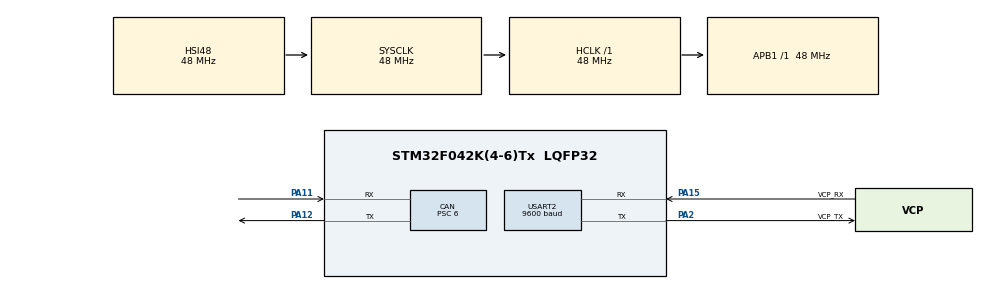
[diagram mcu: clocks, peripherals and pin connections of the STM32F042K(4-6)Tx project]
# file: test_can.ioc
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CAN.BS1=CAN_BS1_13TQ
CAN.BS2=CAN_BS2_2TQ
CAN.CalculateBaudRate=500000
CAN.CalculateTimeBit=2000
CAN.CalculateTimeQuantum=125.0
CAN.Prescaler=6
Mcu.Family=STM32F0
Mcu.Name=STM32F042K(4-6)Tx
Mcu.Package=LQFP32
NVIC.CEC_CAN_IRQn=true\:0\:0\:false\:false\:true\:true\:true\:true
NVIC.USART2_IRQn=true\:0\:0\:false\:false\:true\:true\:true\:true
PA11.Mode=CAN_Activate
PA11.Signal=CAN_RX
PA12.Mode=CAN_Activate
PA12.Signal=CAN_TX
PA13.GPIO_Label=SWDIO
PA13.Mode=Serial_Wire
PA13.Signal=SYS_SWDIO
PA14.GPIO_Label=SWCLK
PA14.Mode=Serial_Wire
PA14.Signal=SYS_SWCLK
PA15.GPIO_Label=VCP_RX
PA15.Mode=Asynchronous
PA15.Signal=USART2_RX
PA2.GPIO_Label=VCP_TX
PA2.Mode=Asynchronous
PA2.Signal=USART2_TX
PF0-OSC_IN.GPIO_Label=MCO
PF0-OSC_IN.Mode=HSE-External-Clock-Source
PF0-OSC_IN.Signal=RCC_OSC_IN
ProjectManager.HeapSize=0x200
ProjectManager.StackSize=0x400
ProjectManager.TargetToolchain=STM32CubeIDE
RCC.AHBFreq_Value=48000000
RCC.APB1Freq_Value=48000000
RCC.APB1TimFreq_Value=48000000
RCC.HCLKFreq_Value=48000000
RCC.SYSCLKFreq_VALUE=48000000
RCC.SYSCLKSource=RCC_SYSCLKSOURCE_HSI48
USART2.BaudRate=9600
USART2.VirtualMode-Asynchronous=VM_ASYNC
board=NUCLEO-F042K6

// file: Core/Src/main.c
/* USER CODE BEGIN Header */
/**
  ******************************************************************************
  * @file           : main.c
  * @brief          : Main program body
  ******************************************************************************
  * @attention
  *
  * Copyright (c) 2026 STMicroelectronics.
  * All rights reserved.
  *
  * This software is licensed under terms that can be found in the LICENSE file
  * in the root directory of this software component.
  * If no LICENSE file comes with this software, it is provided AS-IS.
  *
  ******************************************************************************
  */
/* USER CODE END Header */
#include "main.h"

/* USER CODE BEGIN Includes */
#include <stdio.h>
/* USER CODE END Includes */

CAN_HandleTypeDef hcan;

UART_HandleTypeDef huart2;

/* USER CODE BEGIN PV */
CAN_TxHeaderTypeDef TxHeader;
CAN_RxHeaderTypeDef RxHeader;
uint8_t RxData[8];
/* USER CODE END PV */

void SystemClock_Config(void);
static void MX_GPIO_Init(void);
static void MX_CAN_Init(void);
static void MX_USART2_UART_Init(void);

/* USER CODE BEGIN 0 */
int _write(int file, char *ptr, int len)
{
    HAL_UART_Transmit(&huart2, (uint8_t *)ptr, len, 10);
    return len;
}

void HAL_CAN_RxFifo0MsgPendingCallback(CAN_HandleTypeDef *hcan)
{
    if (HAL_CAN_GetRxMessage(hcan, CAN_RX_FIFO0, &RxHeader, RxData) == HAL_OK)
    {
        /* 수신 데이터 Shape: RxData [8] (1D Array, 상대방이 쏴준 8바이트 날것의 데이터) */

        // OBD-II ECU response
        if (RxHeader.StdId == 0x7E8 && RxData[1] == 0x41)
        {
            if (RxData[2] == 0x0C) { // RPM
                uint16_t raw_rpm = (RxData[3] << 8) | RxData[4]; /* Shape: [1] (스칼라, 16비트 통합) */
                int real_rpm = raw_rpm / 4;                      /* Shape: [1] (스칼라, 실제 RPM 값) */
                printf("RPM=%d\r\n", real_rpm);
            }
            else if (RxData[2] == 0x0D) { // 속도
                int real_speed = RxData[3];                      /* Shape: [1] (스칼라, 실제 속도 km/h) */
                printf("SPEED=%d\r\n", real_speed);
            }
            else if (RxData[2] == 0x11) {
                            /* Shape: RxData[3] [1] (스칼라, 0~255 범위의 8비트 날것의 데이터) */

                            // 공식: A * 100 / 255 (0~100% 백분율로 변환)
            int real_throttle = (RxData[3] * 100) / 255;

                            /* Shape: real_throttle [1] (스칼라, 실제 쓰로틀 개도량 % 값) */

            printf("THROTTLE=%d\r\n", real_throttle);
            }
                            /* Shape: 출력 문자열 [Variable Length] (시리얼 텍스트 스트림) */
            else if (RxData[2] == 0x2F) { // 연료계 잔량
                int real_fuel = (RxData[3] * 100) / 255;         /* Shape: [1] (스칼라, 연료 백분율 %) */
                printf("FUEL=%d\r\n", real_fuel);
            }
            else if (RxData[2] == 0x10) { // 공기 흡입량 (연비 계산용)
                uint16_t raw_maf = (RxData[3] << 8) | RxData[4]; /* Shape: [1] (스칼라, 16비트 통합) */
                int real_maf = raw_maf / 100;                    /* Shape: [1] (스칼라, 공기 흡입량 g/s) */
                printf("MAF=%d\r\n", real_maf);
            }
        }

        // Experimental gear broadcast candidate found during vehicle analysis.
        else if (RxHeader.StdId == 0x43F)
        {
            uint8_t gear_val = RxData[0]; /* Shape: [1] (스칼라, 첫 번째 바이트 기어 데이터) */

            if (gear_val == 0x00) printf("GEAR=P\r\n");
            else if (gear_val == 0x07) printf("GEAR=R\r\n");
            else if (gear_val == 0x06) printf("GEAR=N\r\n");
            else if (gear_val == 0x05) printf("GEAR=D\r\n");
            // Vehicle model years may use different values. Log raw data first.
            // else printf("GEAR_RAW=%02X\r\n", gear_val);
        }

    }
}
/* USER CODE END 0 */

int main(void)
{

  /* MCU Configuration--------------------------------------------------------*/

  /* Reset of all peripherals, Initializes the Flash interface and the Systick. */
  HAL_Init();

  /* Configure the system clock */
  SystemClock_Config();

  /* Initialize all configured peripherals */
  MX_GPIO_Init();
  MX_CAN_Init();
  MX_USART2_UART_Init();
  /* USER CODE BEGIN 2 */
  CAN_FilterTypeDef sFilterConfig;
  sFilterConfig.FilterBank = 0;
  sFilterConfig.FilterMode = CAN_FILTERMODE_IDMASK;
  sFilterConfig.FilterScale = CAN_FILTERSCALE_32BIT;

  /* Accept all frames for OBD-II responses and broadcast ID analysis. */
  sFilterConfig.FilterIdHigh = 0x0000;
  sFilterConfig.FilterMaskIdHigh = 0x0000;
  sFilterConfig.FilterIdLow = 0x0000;
  sFilterConfig.FilterMaskIdLow = 0x0000;
  sFilterConfig.FilterFIFOAssignment = CAN_RX_FIFO0;
  sFilterConfig.FilterActivation = ENABLE;
  sFilterConfig.SlaveStartFilterBank = 14;

  HAL_CAN_ConfigFilter(&hcan, &sFilterConfig);
  HAL_CAN_Start(&hcan);
  HAL_CAN_ActivateNotification(&hcan, CAN_IT_RX_FIFO0_MSG_PENDING);

  /* OBD-II functional request header */
  TxHeader.StdId = 0x7DF;
  TxHeader.ExtId = 0x01;
  TxHeader.RTR = CAN_RTR_DATA;
  TxHeader.IDE = CAN_ID_STD;
  TxHeader.DLC = 8;               // 보낼 데이터 길이 8바이트
  /* USER CODE END 2 */

  /* Infinite loop */
  /* USER CODE BEGIN WHILE */
  while (1)
    {
        uint32_t TxMailbox;
        uint8_t TxData[8] = {0x02, 0x01, 0x00, 0x00, 0x00, 0x00, 0x00, 0x00};
        /* Shape: TxData [8] (1D Array, 송신용 질문 페이로드) */

        /* ----- 1. RPM 질문 (0x0C) ----- */
        TxData[2] = 0x0C;
        HAL_CAN_AddTxMessage(&hcan, &TxHeader, TxData, &TxMailbox);
        HAL_Delay(100);

        /* ----- 2. 속도 질문 (0x0D) ----- */
        TxData[2] = 0x0D;
        HAL_CAN_AddTxMessage(&hcan, &TxHeader, TxData, &TxMailbox);
        HAL_Delay(100);

        /* ----- 3. 연료계 질문 (0x2F) ----- */
        TxData[2] = 0x2F;
        HAL_CAN_AddTxMessage(&hcan, &TxHeader, TxData, &TxMailbox);
        HAL_Delay(100);

        /* ----- 4. 공기 흡입량(MAF) 질문 (0x10) - 나중에 연비 계산용 ----- */
        TxData[2] = 0x10;
        HAL_CAN_AddTxMessage(&hcan, &TxHeader, TxData, &TxMailbox);
        HAL_Delay(100);
        /* ----- 5. 쓰로틀(Throttle) 질문 쏘기 (0x11) 추가 ----- */
        TxData[2] = 0x11; // 세 번째 칸을 쓰로틀 코드로 변경
        HAL_CAN_AddTxMessage(&hcan, &TxHeader, TxData, &TxMailbox);
            /* Shape: CAN 메시지 송신 (ID: 0x7DF, 데이터: TxData) */

        HAL_Delay(100); // 자동차가 대답하고 처리할 시간 확보 (0.1초)

        /* Gear candidate 0x43F is a broadcast frame and is not requested here. */
    /* USER CODE END WHILE */

  }
}

void SystemClock_Config(void)
{
  RCC_OscInitTypeDef RCC_OscInitStruct = {0};
  RCC_ClkInitTypeDef RCC_ClkInitStruct = {0};

  /** Initializes the RCC Oscillators according to the specified parameters
  * in the RCC_OscInitTypeDef structure.
  */
  RCC_OscInitStruct.OscillatorType = RCC_OSCILLATORTYPE_HSI48;
  RCC_OscInitStruct.HSI48State = RCC_HSI48_ON;
  RCC_OscInitStruct.PLL.PLLState = RCC_PLL_NONE;
  if (HAL_RCC_OscConfig(&RCC_OscInitStruct) != HAL_OK)
  {
    Error_Handler();
  }

  /** Initializes the CPU, AHB and APB buses clocks
  */
  RCC_ClkInitStruct.ClockType = RCC_CLOCKTYPE_HCLK|RCC_CLOCKTYPE_SYSCLK
                              |RCC_CLOCKTYPE_PCLK1;
  RCC_ClkInitStruct.SYSCLKSource = RCC_SYSCLKSOURCE_HSI48;
  RCC_ClkInitStruct.AHBCLKDivider = RCC_SYSCLK_DIV1;
  RCC_ClkInitStruct.APB1CLKDivider = RCC_HCLK_DIV1;

  if (HAL_RCC_ClockConfig(&RCC_ClkInitStruct, FLASH_LATENCY_1) != HAL_OK)
  {
    Error_Handler();
  }
}

static void MX_CAN_Init(void)
{

  hcan.Instance = CAN;
  hcan.Init.Prescaler = 6;
  hcan.Init.Mode = CAN_MODE_NORMAL;
  hcan.Init.SyncJumpWidth = CAN_SJW_1TQ;
  hcan.Init.TimeSeg1 = CAN_BS1_13TQ;
  hcan.Init.TimeSeg2 = CAN_BS2_2TQ;
  hcan.Init.TimeTriggeredMode = DISABLE;
  hcan.Init.AutoBusOff = DISABLE;
  hcan.Init.AutoWakeUp = DISABLE;
  hcan.Init.AutoRetransmission = DISABLE;
  hcan.Init.ReceiveFifoLocked = DISABLE;
  hcan.Init.TransmitFifoPriority = DISABLE;
  if (HAL_CAN_Init(&hcan) != HAL_OK)
  {
    Error_Handler();
  }

}

static void MX_USART2_UART_Init(void)
{

  huart2.Instance = USART2;
  huart2.Init.BaudRate = 9600;
  huart2.Init.WordLength = UART_WORDLENGTH_8B;
  huart2.Init.StopBits = UART_STOPBITS_1;
  huart2.Init.Parity = UART_PARITY_NONE;
  huart2.Init.Mode = UART_MODE_TX_RX;
  huart2.Init.HwFlowCtl = UART_HWCONTROL_NONE;
  huart2.Init.OverSampling = UART_OVERSAMPLING_16;
  huart2.Init.OneBitSampling = UART_ONE_BIT_SAMPLE_DISABLE;
  huart2.AdvancedInit.AdvFeatureInit = UART_ADVFEATURE_NO_INIT;
  if (HAL_UART_Init(&huart2) != HAL_OK)
  {
    Error_Handler();
  }

}

static void MX_GPIO_Init(void)
{

  /* GPIO Ports Clock Enable */
  __HAL_RCC_GPIOF_CLK_ENABLE();
  __HAL_RCC_GPIOA_CLK_ENABLE();

}

void Error_Handler(void)
{
  __disable_irq();
  while (1)
  {
  }
}
